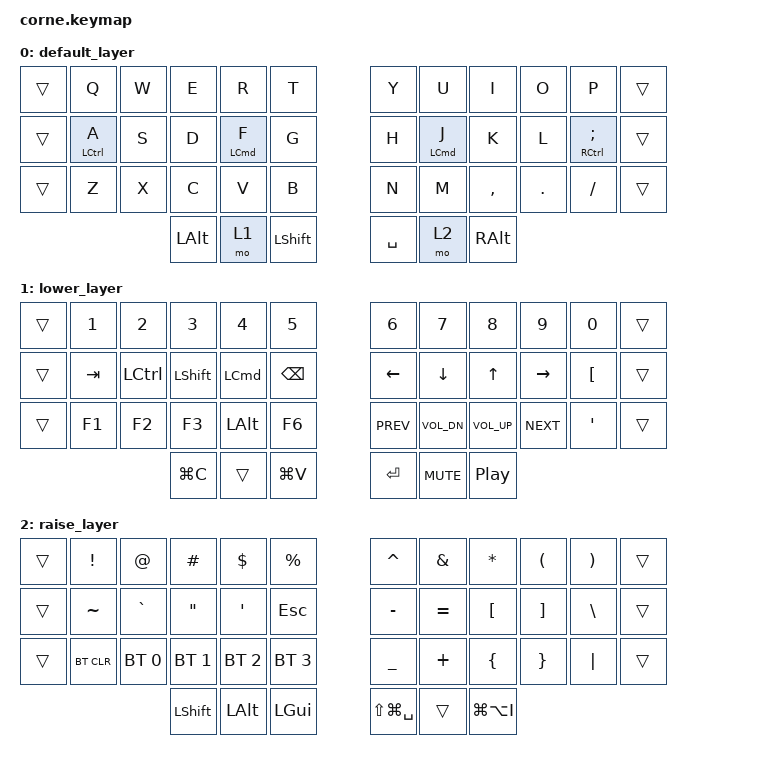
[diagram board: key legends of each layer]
/*
 * Copyright (c) 2020 The ZMK Contributors
 *
 * SPDX-License-Identifier: MIT
 */

#include <behaviors.dtsi>
#include <dt-bindings/zmk/bt.h>
#include <dt-bindings/zmk/keys.h>

/ {
    macros {
        tab_app_forward: tab_app_forward {
            compatible = "zmk,behavior-macro";
            #binding-cells = <0>;
            bindings = <&macro_press>, <&kp LG(TAB)>, <&macro_release>;

            label = "TAB_APP_FORWARD";
        };

        tab_app_backward: tab_app_backward {
            compatible = "zmk,behavior-macro";
            #binding-cells = <0>;
            bindings = <&macro_press>, <&kp LG(LS(TAB))>, <&macro_release>;

            label = "TAB_APP_BACKWARD";
        };
    };

    behaviors {
        lh_pht: lh_pht {
            compatible = "zmk,behavior-hold-tap";
            label = "LH_PHT";
            bindings = <&kp>, <&kp>;

            #binding-cells = <2>;
            tapping-term-ms = <50>;
            quick-tap-ms = <100>;
            hold-trigger-key-positions = <18 19 20 21 22 6 7 8 9 10 30 31 32 33 34 39>;
            flavor = "tap-unless-interrupted";
        };

        rh_pht: rh_pht {
            compatible = "zmk,behavior-hold-tap";
            label = "RH_PHT";
            bindings = <&kp>, <&kp>;

            #binding-cells = <2>;
            tapping-term-ms = <50>;
            quick-tap-ms = <100>;
            flavor = "tap-unless-interrupted";
            hold-trigger-key-positions = <1 2 3 4 5 13 14 15 16 17 25 26 27 28 29 38>;
        };
    };

    keymap {
        compatible = "zmk,keymap";

        default_layer {
            // -----------------------------------------------------------------------------------------
            // |  TAB |  Q  |  W  |  E  |  R  |  T  |   |  Y  |  U   |  I  |  O  |  P  | BSPC |
            // | CTRL |  A  |  S  |  D  |  F  |  G  |   |  H  |  J   |  K  |  L  |  ;  |  '   |
            // | SHFT |  Z  |  X  |  C  |  V  |  B  |   |  N  |  M   |  ,  |  .  |  /  | ESC  |
            //                    | GUI | LWR | SPC |   | ENT | RSE  | ALT |

            bindings = <
&trans  &kp Q                   &kp W  &kp E         &kp R           &kp T             &kp Y      &kp U           &kp I          &kp O    &kp P                       &trans
&trans  &lh_pht LEFT_CONTROL A  &kp S  &kp D         &lh_pht LCMD F  &kp G             &kp H      &rh_pht LCMD J  &kp K          &kp L    &rh_pht RIGHT_CONTROL SEMI  &trans
&trans  &kp Z                   &kp X  &kp C         &kp V           &kp B             &kp N      &kp M           &kp COMMA      &kp DOT  &kp FSLH                    &trans
                                       &kp LEFT_ALT  &mo 1           &kp LEFT_SHIFT    &kp SPACE  &mo 2           &kp RIGHT_ALT
            >;
        };

        lower_layer {
            // -----------------------------------------------------------------------------------------
            // |  TAB |  1  |  2  |  3  |  4  |  5  |   |  6  |  7  |  8  |  9  |  0  | BSPC |
            // | BTCLR| BT1 | BT2 | BT3 | BT4 | BT5 |   | LFT | DWN |  UP | RGT |     |      |
            // | SHFT |     |     |     |     |     |   |     |     |     |     |     |      |
            //                    | GUI |     | SPC |   | ENT |     | ALT |

            bindings = <
&trans  &kp N1   &kp N2     &kp N3          &kp N4            &kp N5           &kp N6      &kp N7        &kp N8        &kp N9      &kp N0            &trans
&trans  &kp TAB  &kp LCTRL  &kp LEFT_SHIFT  &kp LEFT_COMMAND  &kp BACKSPACE    &kp LEFT    &kp DOWN      &kp UP        &kp RIGHT   &kp LEFT_BRACKET  &trans
&trans  &kp F1   &kp F2     &kp F3          &kp LEFT_ALT      &kp F6           &kp C_PREV  &kp C_VOL_DN  &kp C_VOL_UP  &kp C_NEXT  &kp SQT           &trans
                            &kp LG(C)       &trans            &kp LG(V)        &kp RET     &kp K_MUTE    &kp C_PP
            >;
        };

        raise_layer {
            // -----------------------------------------------------------------------------------------
            // |  TAB |  !  |  @  |  #  |  $  |  %  |   |  ^  |  &  |  *  |  (  |  )  | BSPC |
            // | CTRL |     |     |     |     |     |   |  -  |  =  |  [  |  ]  |  \  |  `   |
            // | SHFT |     |     |     |     |     |   |  _  |  +  |  {  |  }  | "|" |  ~   |
            //                    | GUI |     | SPC |   | ENT |     | ALT |

            bindings = <
&trans  &kp EXCL    &kp AT        &kp HASH           &kp DLLR          &kp PRCNT       &kp CARET          &kp AMPS   &kp ASTRK      &kp LPAR  &kp RPAR  &trans
&trans  &kp TILDE   &kp GRAVE     &kp DOUBLE_QUOTES  &kp SINGLE_QUOTE  &kp ESCAPE      &kp MINUS          &kp EQUAL  &kp LBKT       &kp RBKT  &kp BSLH  &trans
&trans  &bt BT_CLR  &bt BT_SEL 0  &bt BT_SEL 1       &bt BT_SEL 2      &bt BT_SEL 3    &kp UNDER          &kp PLUS   &kp LBRC       &kp RBRC  &kp PIPE  &trans
                                  &kp LEFT_SHIFT     &kp LEFT_ALT      &kp LGUI        &kp LS(LG(SPACE))  &trans     &kp LG(LA(I))
            >;
        };
    };
};
